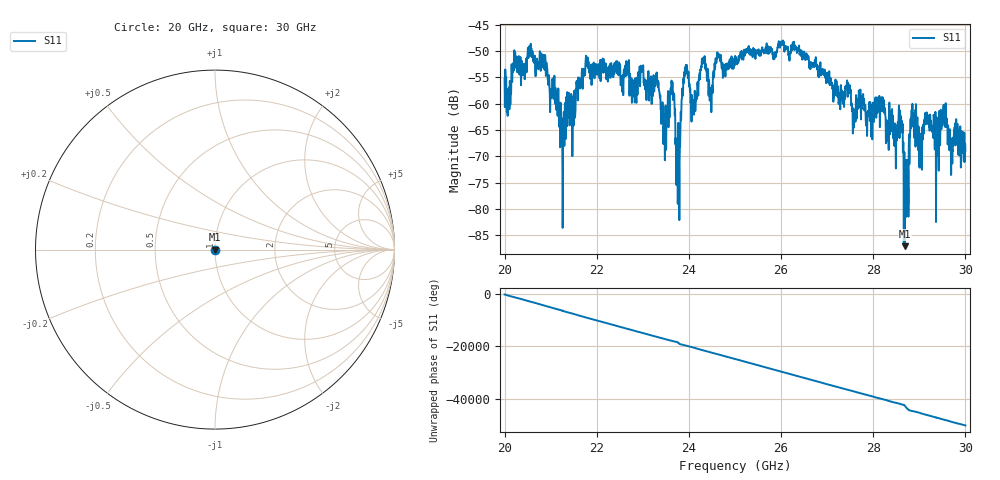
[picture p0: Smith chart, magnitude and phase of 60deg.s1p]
#  HZ  S  RI  R  50.00
! Rohde & Schwarz ZVA40 4Ports - Version 3.90 - 1145.1110k42 SN: 100403
! Date: 2023-10-03 10:51:23
! Measurement: S12
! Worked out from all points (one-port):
!   5001 points, 20 GHz to 30 GHz, reference 50 ohm
!   lowest |S11| = -87.1 dB at 28.69 GHz (marker M1), VSWR 1.00, Z = 50 - j0.00241 ohm
!   |S11| at or under -10 dB: start of sweep to end of sweep
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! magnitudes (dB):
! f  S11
! 20 GHz  -55.3
! 20.84 GHz  -52.8
! 21.25 GHz  -66.9
! 21.78 GHz  -52.4
! 22.5 GHz  -53.9
! 23.3 GHz  -54.1
! 23.48 GHz  -66.9
! 23.64 GHz  -56.5
! 23.75 GHz  -67.7
! 23.93 GHz  -53.6
! 24.1 GHz  -59.6
! 24.3 GHz  -52.2
! 24.47 GHz  -58.1
! 24.62 GHz  -51.1
! 25 GHz  -51.2
! 26.25 GHz  -48.7
! 27.5 GHz  -58.0
! 27.57 GHz  -60.9
! 28.59 GHz  -62.8
! 28.69 GHz  -87.1
! 28.75 GHz  -77.7
! 28.86 GHz  -64.3
! 29.01 GHz  -68.4
! 29.15 GHz  -63.7
! 29.38 GHz  -62.8
! 29.53 GHz  -63.1
! 29.69 GHz  -69.7
! 30 GHz  -68.9
